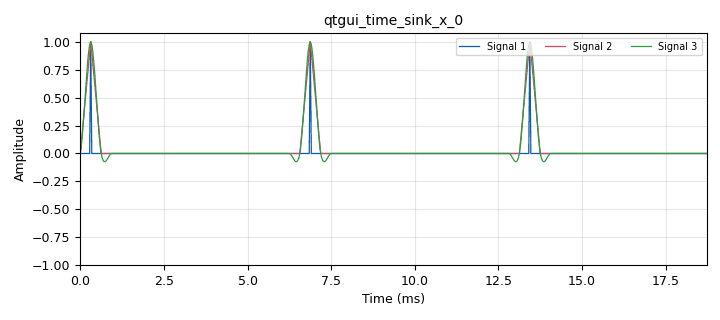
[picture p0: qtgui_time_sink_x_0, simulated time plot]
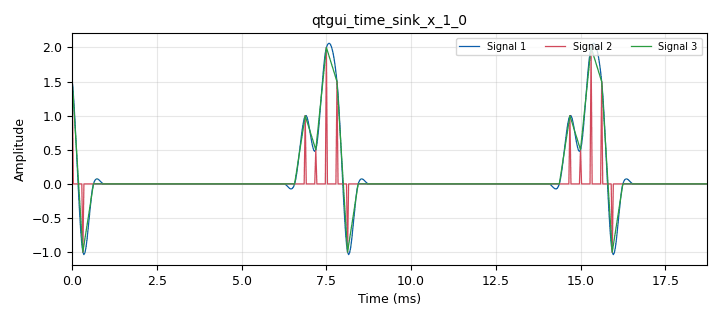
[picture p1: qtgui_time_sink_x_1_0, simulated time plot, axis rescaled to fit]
options:
  parameters:
    author: prateek
    generate_options: qt_gui
    id: cubic_trials
    output_language: python
    title: Not titled yet
  states: {}

blocks:
- name: n
  id: variable
  parameters:
    value: '10'
  states: {}
- name: samp_rate
  id: variable
  parameters:
    value: '32000'
  states: {}
- name: blocks_delay_0
  id: blocks_delay
  parameters:
    delay: 2*n
    type: float
  states: {}
- name: blocks_delay_0_0
  id: blocks_delay
  parameters:
    delay: '-n'
    type: float
  states: {state: bypassed}
- name: blocks_delay_0_0_0
  id: blocks_delay
  parameters:
    delay: '-n'
    type: float
  states: {state: bypassed}
- name: blocks_delay_0_1
  id: blocks_delay
  parameters:
    delay: n
    type: float
  states: {}
- name: blocks_delay_0_1_0
  id: blocks_delay
  parameters:
    delay: n
    type: float
  states: {}
- name: blocks_delay_0_2
  id: blocks_delay
  parameters:
    delay: 2*n
    type: float
  states: {}
- name: blocks_vector_source_x_0
  id: blocks_vector_source_x
  parameters:
    repeat: 'True'
    type: float
    vector: '[0]*10+[1,0.5,2,1.5,-1]+[0]*10'
  states: {}
- name: blocks_vector_source_x_0_0
  id: blocks_vector_source_x
  parameters:
    repeat: 'True'
    type: float
    vector: '[0]*10+[1]+[0]*10'
  states: {}
- name: interp_fir_filter_xxx_0
  id: interp_fir_filter_xxx
  parameters:
    interp: n
    taps: '[-0.5*pow(abs(i/n),3)+pow(abs(i/n),2)-0.5*pow(abs(i/n),1)  for i in range(-n,0)]+[1+1.5*pow(abs(i/n),3)-2.5*pow(abs(i/n),2)  for i in range(-n,n)]+[-0.5*pow(abs(i/n),3)+pow(abs(i/n),2)-0.5*pow(abs(i/n),1)  for i in range(0,n)]'
    type: fff
  states: {}
- name: interp_fir_filter_xxx_0_0
  id: interp_fir_filter_xxx
  parameters:
    interp: n
    taps: '1'
    type: fff
  states: {}
- name: interp_fir_filter_xxx_0_0_0
  id: interp_fir_filter_xxx
  parameters:
    interp: n
    taps: '1'
    type: fff
  states: {}
- name: interp_fir_filter_xxx_0_1
  id: interp_fir_filter_xxx
  parameters:
    interp: n
    taps: '[1-abs(i/n) for i in range(-n,n)]'
    type: fff
  states: {}
- name: interp_fir_filter_xxx_0_1_0
  id: interp_fir_filter_xxx
  parameters:
    interp: n
    taps: '[1-abs(i/n) for i in range(-n,n)]'
    type: fff
  states: {}
- name: interp_fir_filter_xxx_0_2
  id: interp_fir_filter_xxx
  parameters:
    interp: n
    taps: '[-0.5*pow(abs(i/n),3)+pow(abs(i/n),2)-0.5*pow(abs(i/n),1)  for i in range(-n,0)]+[1+1.5*pow(abs(i/n),3)-2.5*pow(abs(i/n),2)  for i in range(-n,n)]+[-0.5*pow(abs(i/n),3)+pow(abs(i/n),2)-0.5*pow(abs(i/n),1)  for i in range(0,n)]'
    type: fff
  states: {}
- name: qtgui_time_sink_x_0
  id: qtgui_time_sink_x
  parameters:
    nconnections: '3'
    size: '600'
    srate: samp_rate
    type: float
  states: {}
- name: qtgui_time_sink_x_1_0
  id: qtgui_time_sink_x
  parameters:
    nconnections: '3'
    size: 60*n
    srate: samp_rate
    style2: '5'
    type: float
  states: {}

connections:
- [blocks_delay_0, '0', qtgui_time_sink_x_1_0, '1']
- [blocks_delay_0_0, '0', qtgui_time_sink_x_1_0, '0']
- [blocks_delay_0_0_0, '0', qtgui_time_sink_x_0, '2']
- [blocks_delay_0_1, '0', qtgui_time_sink_x_1_0, '2']
- [blocks_delay_0_1_0, '0', qtgui_time_sink_x_0, '1']
- [blocks_delay_0_2, '0', qtgui_time_sink_x_0, '0']
- [blocks_vector_source_x_0, '0', interp_fir_filter_xxx_0, '0']
- [blocks_vector_source_x_0, '0', interp_fir_filter_xxx_0_0, '0']
- [blocks_vector_source_x_0, '0', interp_fir_filter_xxx_0_1, '0']
- [blocks_vector_source_x_0_0, '0', interp_fir_filter_xxx_0_0_0, '0']
- [blocks_vector_source_x_0_0, '0', interp_fir_filter_xxx_0_1_0, '0']
- [blocks_vector_source_x_0_0, '0', interp_fir_filter_xxx_0_2, '0']
- [interp_fir_filter_xxx_0, '0', blocks_delay_0_0, '0']
- [interp_fir_filter_xxx_0_0, '0', blocks_delay_0, '0']
- [interp_fir_filter_xxx_0_0_0, '0', blocks_delay_0_2, '0']
- [interp_fir_filter_xxx_0_1, '0', blocks_delay_0_1, '0']
- [interp_fir_filter_xxx_0_1_0, '0', blocks_delay_0_1_0, '0']
- [interp_fir_filter_xxx_0_2, '0', blocks_delay_0_0_0, '0']

metadata:
  file_format: 1
